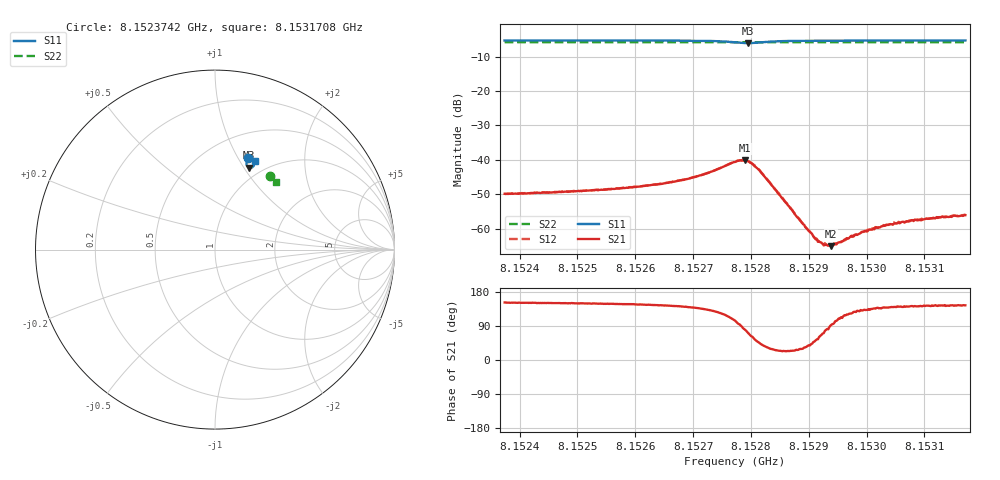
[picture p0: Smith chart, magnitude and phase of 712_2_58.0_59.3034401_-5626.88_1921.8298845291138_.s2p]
#  HZ  S  RI  R  50.00
! Rohde & Schwarz Vector Network Analyzer
! Rohde-Schwarz,ZNB20-2Port,1311601062101988,3.16
! Created: UTC 3/21/2024, 1:22:13 AM
! freq[Hz]  re:S11  im:S11  re:S21  im:S21  re:S12  im:S12  re:S22  im:S22
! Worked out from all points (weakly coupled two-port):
!   401 points, 8.1523742 GHz to 8.1531708 GHz, reference 50 ohm
!   highest |S21| = -40.12 dB at 8.1527904 GHz (marker M1); lowest = -65.1 dB at 8.1529378 GHz (marker M2)
!   lowest |S11| = -6.1 dB at 8.1527944 GHz (marker M3), VSWR 2.96, Z = 43.5 + j52.7 ohm
!   |S11| at or under -10 dB: nowhere
!   |S22| runs from -5.9 to -5.8 dB; largest |S21 - S12| = 0.00024
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8.15237422e9  0.1812 0.5092  -0.00283 0.00152  -0.00281 0.00155  0.3043 0.4107
8.15250764e9  0.1916 0.5053  -0.00303 0.00177  -0.00302 0.00184  0.311 0.4057
8.15258331e9  0.1981 0.5024  -0.0033 0.0021  -0.00329 0.00217  0.3149 0.4024
8.15264106e9  0.204 0.4992  -0.00358 0.00258  -0.00359 0.00264  0.3177 0.4001
8.15268487e9  0.2093 0.4951  -0.00395 0.00327  -0.00397 0.00334  0.32 0.3981
8.15271275e9  0.2133 0.4906  -0.00428 0.00413  -0.00422 0.00422  0.3214 0.3968
8.15277249e9  0.2121 0.4625  -0.00224 0.00902  -0.00213 0.00916  0.3238 0.3935
8.15278244e9  0.2032 0.4567  -0.000109 0.00984  -8.92e-05 0.00987  0.3237 0.393
8.15279041e9  0.1935 0.4558  0.00186 0.00969  0.00191 0.00965  0.3237 0.3927
8.15279439e9  0.1886 0.4572  0.00287 0.0091  0.0029 0.00917  0.3237 0.3929
8.15280634e9  0.1778 0.4668  0.00465 0.00657  0.00481 0.00675  0.3241 0.3929
8.15281829e9  0.1755 0.4784  0.00483 0.00421  0.00496 0.00427  0.3246 0.3928
8.15290591e9  0.1985 0.4987  0.000606 0.00057  0.000592 0.000577  0.3298 0.3897
8.15291188e9  0.1995 0.4989  0.000434 0.00055  0.000465 0.000561  0.3302 0.3895
8.15292184e9  0.2011 0.4987  0.000254 0.000574  0.000304 0.000553  0.3306 0.389
8.1529298e9  0.2023 0.4986  0.000106 0.000576  0.000129 0.000567  0.3311 0.3887
8.15293777e9  0.2035 0.4986  -1.06e-05 0.000557  1.73e-05 0.000562  0.3316 0.3883
8.15295967e9  0.2061 0.498  -0.000288 0.000601  -0.000282 0.000599  0.3326 0.3873
8.15299353e9  0.21 0.4973  -0.000588 0.000686  -0.000573 0.000686  0.3342 0.3858
8.15303933e9  0.2144 0.496  -0.000868 0.000757  -0.000836 0.000788  0.3363 0.384
8.15308114e9  0.218 0.4949  -0.001 0.000807  -0.00101 0.000824  0.3384 0.382
8.15317075e9  0.2249 0.4921  -0.00128 0.000917  -0.00127 0.00094  0.3426 0.3782
